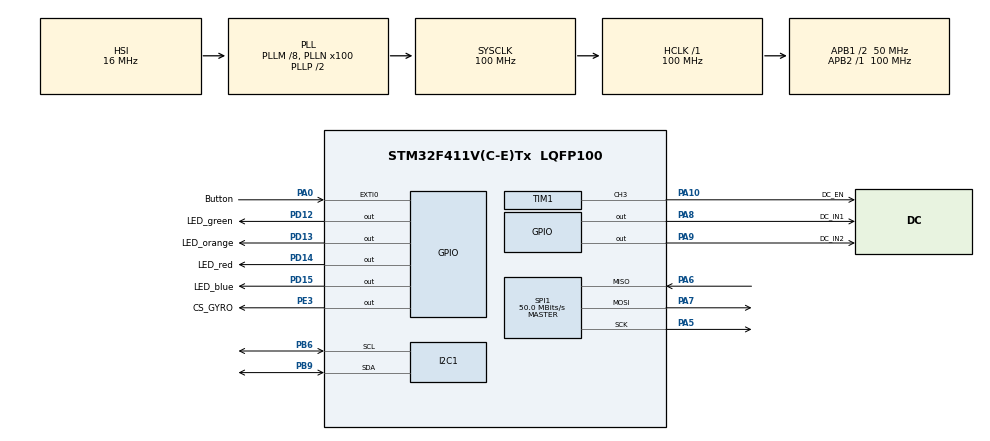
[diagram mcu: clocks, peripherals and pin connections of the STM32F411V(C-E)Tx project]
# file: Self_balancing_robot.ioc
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I2C1.I2C_Mode=I2C_Fast
Mcu.Family=STM32F4
Mcu.Name=STM32F411V(C-E)Tx
Mcu.Package=LQFP100
NVIC.EXTI0_IRQn=true\:0\:0\:false\:false\:true
NVIC.PriorityGroup=NVIC_PRIORITYGROUP_4
PA0-WKUP.GPIO_Label=Button
PA0-WKUP.Signal=GPXTI0
PA10.GPIO_Label=DC_EN
PA10.Signal=S_TIM1_CH3
PA5.Mode=Full_Duplex_Master
PA5.Signal=SPI1_SCK
PA6.Mode=Full_Duplex_Master
PA6.Signal=SPI1_MISO
PA7.Mode=Full_Duplex_Master
PA7.Signal=SPI1_MOSI
PA8.GPIO_Label=DC_IN1
PA8.Signal=GPIO_Output
PA9.GPIO_Label=DC_IN2
PA9.Signal=GPIO_Output
PB6.Mode=I2C
PB6.Signal=I2C1_SCL
PB9.Mode=I2C
PB9.Signal=I2C1_SDA
PD12.GPIO_Label=LED_green
PD12.Signal=GPIO_Output
PD13.GPIO_Label=LED_orange
PD13.Signal=GPIO_Output
PD14.GPIO_Label=LED_red
PD14.Signal=GPIO_Output
PD15.GPIO_Label=LED_blue
PD15.Signal=GPIO_Output
PE3.GPIO_Label=CS_GYRO
PE3.Signal=GPIO_Output
PH0\ -\ OSC_IN.Mode=HSE-External-Oscillator
PH0\ -\ OSC_IN.Signal=RCC_OSC_IN
PH1\ -\ OSC_OUT.Mode=HSE-External-Oscillator
PH1\ -\ OSC_OUT.Signal=RCC_OSC_OUT
ProjectManager.HeapSize=0x200
ProjectManager.StackSize=0x400
ProjectManager.TargetToolchain=SW4STM32
RCC.48MHZClocksFreq_Value=50000000
RCC.AHBFreq_Value=100000000
RCC.APB1CLKDivider=RCC_HCLK_DIV2
RCC.APB1Freq_Value=50000000
RCC.APB1TimFreq_Value=100000000
RCC.APB2Freq_Value=100000000
RCC.APB2TimFreq_Value=100000000
RCC.CortexFreq_Value=100000000
RCC.HCLKFreq_Value=100000000
RCC.HSE_VALUE=8000000
RCC.HSI_VALUE=16000000
RCC.LSE_VALUE=32768
RCC.PLLM=8
RCC.PLLN=100
RCC.SYSCLKFreq_VALUE=100000000
RCC.SYSCLKSource=RCC_SYSCLKSOURCE_PLLCLK
RCC.VCOOutputFreq_Value=200000000
SH.S_TIM1_CH3.0=TIM1_CH3,PWM Generation3 CH3
SPI1.CalculateBaudRate=50.0 MBits/s
SPI1.Direction=SPI_DIRECTION_2LINES
SPI1.Mode=SPI_MODE_MASTER
SPI1.VirtualType=VM_MASTER
TIM1.Channel-PWM\ Generation3\ CH3=TIM_CHANNEL_3
TIM1.Period=9999
TIM1.Prescaler=49
VP_TIM1_VS_ClockSourceINT.Mode=Internal
board=Self_balancing_robot

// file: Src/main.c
/**
  ******************************************************************************
  * File Name          : main.c
  * Description        : Main program body
  ******************************************************************************
  ** This notice applies to any and all portions of this file
  * that are not between comment pairs USER CODE BEGIN and
  * USER CODE END. Other portions of this file, whether
  * inserted by the user or by software development tools
  * are owned by their respective copyright owners.
  *
  * COPYRIGHT(c) 2017 STMicroelectronics
  *
  * Redistribution and use in source and binary forms, with or without modification,
  * are permitted provided that the following conditions are met:
  *   1. Redistributions of source code must retain the above copyright notice,
  *      this list of conditions and the following disclaimer.
  *   2. Redistributions in binary form must reproduce the above copyright notice,
  *      this list of conditions and the following disclaimer in the documentation
  *      and/or other materials provided with the distribution.
  *   3. Neither the name of STMicroelectronics nor the names of its contributors
  *      may be used to endorse or promote products derived from this software
  *      without specific prior written permission.
  *
  * THIS SOFTWARE IS PROVIDED BY THE COPYRIGHT HOLDERS AND CONTRIBUTORS "AS IS"
  * AND ANY EXPRESS OR IMPLIED WARRANTIES, INCLUDING, BUT NOT LIMITED TO, THE
  * IMPLIED WARRANTIES OF MERCHANTABILITY AND FITNESS FOR A PARTICULAR PURPOSE ARE
  * DISCLAIMED. IN NO EVENT SHALL THE COPYRIGHT HOLDER OR CONTRIBUTORS BE LIABLE
  * FOR ANY DIRECT, INDIRECT, INCIDENTAL, SPECIAL, EXEMPLARY, OR CONSEQUENTIAL
  * DAMAGES (INCLUDING, BUT NOT LIMITED TO, PROCUREMENT OF SUBSTITUTE GOODS OR
  * SERVICES; LOSS OF USE, DATA, OR PROFITS; OR BUSINESS INTERRUPTION) HOWEVER
  * CAUSED AND ON ANY THEORY OF LIABILITY, WHETHER IN CONTRACT, STRICT LIABILITY,
  * OR TORT (INCLUDING NEGLIGENCE OR OTHERWISE) ARISING IN ANY WAY OUT OF THE USE
  * OF THIS SOFTWARE, EVEN IF ADVISED OF THE POSSIBILITY OF SUCH DAMAGE.
  *
  ******************************************************************************
  */
#include "main.h"
#include "stm32f4xx_hal.h"

/* USER CODE BEGIN Includes */
#include <math.h>
/* USER CODE END Includes */

I2C_HandleTypeDef hi2c1;

SPI_HandleTypeDef hspi1;

TIM_HandleTypeDef htim1;

/* USER CODE BEGIN PV */
/* Private variables ---------------------------------------------------------*/
// ACCELEROMTER
#define LSM303_ACC_ADDRESS (0x19 << 1)
#define LSM303_ACC_CTRL_REG1_A 0x20
#define LSM303_ACC_CTRL_REG2_A 0x21
#define LSM303_ACC_CTRL_REG3_A 0x22
#define LSM303_ACC_CTRL_REG4_A 0x23
#define LSM303_ACC_CTRL_REG5_A 0x24
#define LSM303_ACC_CTRL_REG6_A 0x25
#define LSM303_ACC_SCALE 2.0f

//GYROSCOPE
#define L3GD20_REGISTER_CTRL_REG1 0x20   // 00000111   rw
#define L3GD20_REGISTER_CTRL_REG2 0x21   // 00000000   rw
#define L3GD20_REGISTER_CTRL_REG3 0x22   // 00000000   rw
#define L3GD20_REGISTER_CTRL_REG4 0x23   // 00000000   rw
#define L3GD20_REGISTER_CTRL_REG5 0x24   // 00000000   rw
#define L3GD20_GYRO_SENSITIVITY 0.00875f

#define RAD_TO_DEG 180/M_PI

//Gyro macros
#define CS_GYRO_LOW HAL_GPIO_WritePin(CS_GYRO_GPIO_Port, CS_GYRO_Pin, 0)
#define CS_GYRO_HIGH HAL_GPIO_WritePin(CS_GYRO_GPIO_Port, CS_GYRO_Pin, 1)
//DC motor macros
#define DC_IN1_ON HAL_GPIO_WritePin(DC_IN1_GPIO_Port, DC_IN1_Pin, 1)
#define DC_IN2_ON HAL_GPIO_WritePin(DC_IN2_GPIO_Port, DC_IN2_Pin, 1)
#define DC_IN1_OFF HAL_GPIO_WritePin(DC_IN1_GPIO_Port, DC_IN1_Pin, 0)
#define DC_IN2_OFF HAL_GPIO_WritePin(DC_IN2_GPIO_Port, DC_IN2_Pin, 0)
#define DC_ENABLE HAL_GPIO_WritePin(DC_EN_GPIO_Port, DC_EN_Pin, 1)
#define DC_DISABLE HAL_GPIO_WritePin(DC_EN_GPIO_Port, DC_EN_Pin, 0)
#define DC_TOGGLE HAL_GPIO_TogglePin(DC_EN_GPIO_Port, DC_EN_Pin)
uint8_t dc_shutdown;
//Other variables
float gyro_bias;

float pitch, accel_angle;
//float accel_angle, current_angle, prev_angle;

uint8_t settings = 0;

//int16_t Accel_raw_x, Accel_raw_y, Accel_raw_z;
//float Accel_g_x, Accel_g_y, Accel_g_z, angle;

uint8_t Data[6];

//Elapsed time variables
//float currTimeStamp=0, elapsedTime=0, prevTimeStamp=0;
typedef struct {
	float dState; // Last position input
	float iState; // Integrator state
	float iMax, iMin; // Maximum and minimum allowable integrator state
	float pGain, // Proportional gain
	      iGain, // Integrator gain
		  dGain; // Derivative gain
} PID;
/* USER CODE END PV */

void SystemClock_Config(void);
static void MX_GPIO_Init(void);
static void MX_I2C1_Init(void);
static void MX_SPI1_Init(void);
static void MX_TIM1_Init(void);

void HAL_TIM_MspPostInit(TIM_HandleTypeDef *htim);

/* USER CODE BEGIN PFP */
uint8_t read_gyro(uint8_t address);
void send_settings(uint8_t address, uint8_t settings);
void HAL_GPIO_EXTI_Callback(uint16_t GPIO_Pin) {
	if (GPIO_Pin == Button_Pin) {
		dc_shutdown ^= 1;
	}
}
void accel_config(void);
void gyro_config(void);
void HAL_SYSTICK_Callback(void) {
	static int cnt = 0;
	cnt++;
	if (cnt == 1000) {
		cnt = 0;
		HAL_GPIO_TogglePin(LED_green_GPIO_Port, LED_green_Pin);
	}
}
float get_accel_angle();
float estimate_angle();
float gyro_calibration();
float update_PID(PID * pid, float error, float set_point);
/* USEr CODE END PFP */

int main(void)
{

  /* MCU Configuration----------------------------------------------------------*/

  /* Reset of all peripherals, Initializes the Flash interface and the Systick. */
  HAL_Init();

  /* Configure the system clock */
  SystemClock_Config();

  /* Initialize all configured peripherals */
  MX_GPIO_Init();
  MX_I2C1_Init();
  MX_SPI1_Init();
  MX_TIM1_Init();

  /* USER CODE BEGIN 2 */

	//PWM start
	HAL_TIM_PWM_Start(&htim1, TIM_CHANNEL_3);
	//ACCELEROMETER CONFIGURATION
	accel_config();
	//GYROSCOPE CONFIGURATION
	gyro_config();
	gyro_bias = gyro_calibration();

	DC_ENABLE;
  /* USER CODE END 2 */

  /* Infinite loop */
  /* USER CODE BEGIN WHILE */
	while (1) {
		if (!dc_shutdown) {
//			TIM1->CCR3 = 0;
//			accel_angle = get_accel_angle();
			pitch = estimate_angle();
			if (pitch > -15 && pitch < 0) {
				TIM1->CCR3 = -pitch * 1500;
				DC_IN1_ON;
				DC_IN2_OFF;
			} else if (pitch < 15 && pitch > 0) {
				TIM1->CCR3 = pitch * 1500;
				DC_IN1_OFF;
				DC_IN2_ON;
			}
		} else {
			DC_DISABLE;
		}
//		DC_IN1_ON;
//		TIM1->CCR3 = 4000;
//		DC_IN1_ON;
//		TIM1->CCR3 = 1000;

		//PID

//		HAL_Delay(10);
  /* USER CODE END WHILE */

	}

}

/** System Clock Configuration
*/
void SystemClock_Config(void)
{

  RCC_OscInitTypeDef RCC_OscInitStruct;
  RCC_ClkInitTypeDef RCC_ClkInitStruct;

    /**Configure the main internal regulator output voltage
    */
  __HAL_RCC_PWR_CLK_ENABLE();

  __HAL_PWR_VOLTAGESCALING_CONFIG(PWR_REGULATOR_VOLTAGE_SCALE1);

    /**Initializes the CPU, AHB and APB busses clocks
    */
  RCC_OscInitStruct.OscillatorType = RCC_OSCILLATORTYPE_HSI;
  RCC_OscInitStruct.HSIState = RCC_HSI_ON;
  RCC_OscInitStruct.HSICalibrationValue = 16;
  RCC_OscInitStruct.PLL.PLLState = RCC_PLL_ON;
  RCC_OscInitStruct.PLL.PLLSource = RCC_PLLSOURCE_HSI;
  RCC_OscInitStruct.PLL.PLLM = 8;
  RCC_OscInitStruct.PLL.PLLN = 100;
  RCC_OscInitStruct.PLL.PLLP = RCC_PLLP_DIV2;
  RCC_OscInitStruct.PLL.PLLQ = 4;
  if (HAL_RCC_OscConfig(&RCC_OscInitStruct) != HAL_OK)
  {
    _Error_Handler(__FILE__, __LINE__);
  }

    /**Initializes the CPU, AHB and APB busses clocks
    */
  RCC_ClkInitStruct.ClockType = RCC_CLOCKTYPE_HCLK|RCC_CLOCKTYPE_SYSCLK
                              |RCC_CLOCKTYPE_PCLK1|RCC_CLOCKTYPE_PCLK2;
  RCC_ClkInitStruct.SYSCLKSource = RCC_SYSCLKSOURCE_PLLCLK;
  RCC_ClkInitStruct.AHBCLKDivider = RCC_SYSCLK_DIV1;
  RCC_ClkInitStruct.APB1CLKDivider = RCC_HCLK_DIV2;
  RCC_ClkInitStruct.APB2CLKDivider = RCC_HCLK_DIV1;

  if (HAL_RCC_ClockConfig(&RCC_ClkInitStruct, FLASH_LATENCY_3) != HAL_OK)
  {
    _Error_Handler(__FILE__, __LINE__);
  }

    /**Configure the Systick interrupt time
    */
  HAL_SYSTICK_Config(HAL_RCC_GetHCLKFreq()/1000);

    /**Configure the Systick
    */
  HAL_SYSTICK_CLKSourceConfig(SYSTICK_CLKSOURCE_HCLK);

  /* SysTick_IRQn interrupt configuration */
  HAL_NVIC_SetPriority(SysTick_IRQn, 0, 0);
}

/* I2C1 init function */
static void MX_I2C1_Init(void)
{

  hi2c1.Instance = I2C1;
  hi2c1.Init.ClockSpeed = 400000;
  hi2c1.Init.DutyCycle = I2C_DUTYCYCLE_2;
  hi2c1.Init.OwnAddress1 = 0;
  hi2c1.Init.AddressingMode = I2C_ADDRESSINGMODE_7BIT;
  hi2c1.Init.DualAddressMode = I2C_DUALADDRESS_DISABLE;
  hi2c1.Init.OwnAddress2 = 0;
  hi2c1.Init.GeneralCallMode = I2C_GENERALCALL_DISABLE;
  hi2c1.Init.NoStretchMode = I2C_NOSTRETCH_DISABLE;
  if (HAL_I2C_Init(&hi2c1) != HAL_OK)
  {
    _Error_Handler(__FILE__, __LINE__);
  }

}

/* SPI1 init function */
static void MX_SPI1_Init(void)
{

  hspi1.Instance = SPI1;
  hspi1.Init.Mode = SPI_MODE_MASTER;
  hspi1.Init.Direction = SPI_DIRECTION_2LINES;
  hspi1.Init.DataSize = SPI_DATASIZE_8BIT;
  hspi1.Init.CLKPolarity = SPI_POLARITY_LOW;
  hspi1.Init.CLKPhase = SPI_PHASE_1EDGE;
  hspi1.Init.NSS = SPI_NSS_SOFT;
  hspi1.Init.BaudRatePrescaler = SPI_BAUDRATEPRESCALER_2;
  hspi1.Init.FirstBit = SPI_FIRSTBIT_MSB;
  hspi1.Init.TIMode = SPI_TIMODE_DISABLE;
  hspi1.Init.CRCCalculation = SPI_CRCCALCULATION_DISABLE;
  hspi1.Init.CRCPolynomial = 10;
  if (HAL_SPI_Init(&hspi1) != HAL_OK)
  {
    _Error_Handler(__FILE__, __LINE__);
  }

}

/* TIM1 init function */
static void MX_TIM1_Init(void)
{

  TIM_ClockConfigTypeDef sClockSourceConfig;
  TIM_MasterConfigTypeDef sMasterConfig;
  TIM_OC_InitTypeDef sConfigOC;
  TIM_BreakDeadTimeConfigTypeDef sBreakDeadTimeConfig;

  htim1.Instance = TIM1;
  htim1.Init.Prescaler = 49;
  htim1.Init.CounterMode = TIM_COUNTERMODE_UP;
  htim1.Init.Period = 9999;
  htim1.Init.ClockDivision = TIM_CLOCKDIVISION_DIV1;
  htim1.Init.RepetitionCounter = 0;
  if (HAL_TIM_Base_Init(&htim1) != HAL_OK)
  {
    _Error_Handler(__FILE__, __LINE__);
  }

  sClockSourceConfig.ClockSource = TIM_CLOCKSOURCE_INTERNAL;
  if (HAL_TIM_ConfigClockSource(&htim1, &sClockSourceConfig) != HAL_OK)
  {
    _Error_Handler(__FILE__, __LINE__);
  }

  if (HAL_TIM_PWM_Init(&htim1) != HAL_OK)
  {
    _Error_Handler(__FILE__, __LINE__);
  }

  sMasterConfig.MasterOutputTrigger = TIM_TRGO_RESET;
  sMasterConfig.MasterSlaveMode = TIM_MASTERSLAVEMODE_DISABLE;
  if (HAL_TIMEx_MasterConfigSynchronization(&htim1, &sMasterConfig) != HAL_OK)
  {
    _Error_Handler(__FILE__, __LINE__);
  }

  sConfigOC.OCMode = TIM_OCMODE_PWM1;
  sConfigOC.Pulse = 0;
  sConfigOC.OCPolarity = TIM_OCPOLARITY_HIGH;
  sConfigOC.OCNPolarity = TIM_OCNPOLARITY_HIGH;
  sConfigOC.OCFastMode = TIM_OCFAST_DISABLE;
  sConfigOC.OCIdleState = TIM_OCIDLESTATE_RESET;
  sConfigOC.OCNIdleState = TIM_OCNIDLESTATE_RESET;
  if (HAL_TIM_PWM_ConfigChannel(&htim1, &sConfigOC, TIM_CHANNEL_3) != HAL_OK)
  {
    _Error_Handler(__FILE__, __LINE__);
  }

  sBreakDeadTimeConfig.OffStateRunMode = TIM_OSSR_DISABLE;
  sBreakDeadTimeConfig.OffStateIDLEMode = TIM_OSSI_DISABLE;
  sBreakDeadTimeConfig.LockLevel = TIM_LOCKLEVEL_OFF;
  sBreakDeadTimeConfig.DeadTime = 0;
  sBreakDeadTimeConfig.BreakState = TIM_BREAK_DISABLE;
  sBreakDeadTimeConfig.BreakPolarity = TIM_BREAKPOLARITY_HIGH;
  sBreakDeadTimeConfig.AutomaticOutput = TIM_AUTOMATICOUTPUT_DISABLE;
  if (HAL_TIMEx_ConfigBreakDeadTime(&htim1, &sBreakDeadTimeConfig) != HAL_OK)
  {
    _Error_Handler(__FILE__, __LINE__);
  }

  HAL_TIM_MspPostInit(&htim1);

}

/** Configure pins as
        * Analog
        * Input
        * Output
        * EVENT_OUT
        * EXTI
*/
static void MX_GPIO_Init(void)
{

  GPIO_InitTypeDef GPIO_InitStruct;

  /* GPIO Ports Clock Enable */
  __HAL_RCC_GPIOE_CLK_ENABLE();
  __HAL_RCC_GPIOH_CLK_ENABLE();
  __HAL_RCC_GPIOA_CLK_ENABLE();
  __HAL_RCC_GPIOD_CLK_ENABLE();
  __HAL_RCC_GPIOB_CLK_ENABLE();

  /*Configure GPIO pin Output Level */
  HAL_GPIO_WritePin(CS_GYRO_GPIO_Port, CS_GYRO_Pin, GPIO_PIN_RESET);

  /*Configure GPIO pin Output Level */
  HAL_GPIO_WritePin(GPIOD, LED_green_Pin|LED_orange_Pin|LED_red_Pin|LED_blue_Pin, GPIO_PIN_RESET);

  /*Configure GPIO pin Output Level */
  HAL_GPIO_WritePin(GPIOA, DC_IN1_Pin|DC_IN2_Pin, GPIO_PIN_RESET);

  /*Configure GPIO pin : CS_GYRO_Pin */
  GPIO_InitStruct.Pin = CS_GYRO_Pin;
  GPIO_InitStruct.Mode = GPIO_MODE_OUTPUT_PP;
  GPIO_InitStruct.Pull = GPIO_NOPULL;
  GPIO_InitStruct.Speed = GPIO_SPEED_FREQ_LOW;
  HAL_GPIO_Init(CS_GYRO_GPIO_Port, &GPIO_InitStruct);

  /*Configure GPIO pin : Button_Pin */
  GPIO_InitStruct.Pin = Button_Pin;
  GPIO_InitStruct.Mode = GPIO_MODE_IT_RISING;
  GPIO_InitStruct.Pull = GPIO_NOPULL;
  HAL_GPIO_Init(Button_GPIO_Port, &GPIO_InitStruct);

  /*Configure GPIO pins : LED_green_Pin LED_orange_Pin LED_red_Pin LED_blue_Pin */
  GPIO_InitStruct.Pin = LED_green_Pin|LED_orange_Pin|LED_red_Pin|LED_blue_Pin;
  GPIO_InitStruct.Mode = GPIO_MODE_OUTPUT_PP;
  GPIO_InitStruct.Pull = GPIO_NOPULL;
  GPIO_InitStruct.Speed = GPIO_SPEED_FREQ_LOW;
  HAL_GPIO_Init(GPIOD, &GPIO_InitStruct);

  /*Configure GPIO pins : DC_IN1_Pin DC_IN2_Pin */
  GPIO_InitStruct.Pin = DC_IN1_Pin|DC_IN2_Pin;
  GPIO_InitStruct.Mode = GPIO_MODE_OUTPUT_PP;
  GPIO_InitStruct.Pull = GPIO_NOPULL;
  GPIO_InitStruct.Speed = GPIO_SPEED_FREQ_LOW;
  HAL_GPIO_Init(GPIOA, &GPIO_InitStruct);

  /* EXTI interrupt init*/
  HAL_NVIC_SetPriority(EXTI0_IRQn, 0, 0);
  HAL_NVIC_EnableIRQ(EXTI0_IRQn);

}

/* USER CODE BEGIN 4 */
uint8_t read_gyro(uint8_t address) {
	CS_GYRO_LOW;
	address |= 0x80;
	uint8_t data;
	HAL_SPI_Transmit(&hspi1, &address, 1, 50);
	HAL_SPI_Receive(&hspi1, &data, 1, 50);
	CS_GYRO_HIGH;
	return data;
}

void send_settings(uint8_t address, uint8_t settings) {
	CS_GYRO_LOW;
	HAL_SPI_Transmit(&hspi1, &address, 1, 50);
	HAL_SPI_Transmit(&hspi1, &settings, 1, 50);
	CS_GYRO_HIGH;
}

void accel_config(void) {
	settings = 0b01010111; //100Hz, XYZ axis enable
	HAL_I2C_Mem_Write(&hi2c1, LSM303_ACC_ADDRESS, LSM303_ACC_CTRL_REG1_A, 1,
			&settings, 1, 50);

	settings = 0b10000000; //data from internal filter sent to output register and FIFO, there is no gravitation vector, dunno why
	HAL_I2C_Mem_Write(&hi2c1, LSM303_ACC_ADDRESS, LSM303_ACC_CTRL_REG2_A, 1,
			&settings, 1, 50);

	settings = 0b00000000; //everything disable
	HAL_I2C_Mem_Write(&hi2c1, LSM303_ACC_ADDRESS, LSM303_ACC_CTRL_REG3_A, 1,
			&settings, 1, 50);

	settings = 0b00000000; // +/- 2G selection
	HAL_I2C_Mem_Write(&hi2c1, LSM303_ACC_ADDRESS, LSM303_ACC_CTRL_REG4_A, 1,
			&settings, 1, 50);

	settings = 0b00000000; //nothing
	HAL_I2C_Mem_Write(&hi2c1, LSM303_ACC_ADDRESS, LSM303_ACC_CTRL_REG5_A, 1,
			&settings, 1, 50);

	settings = 0b00000000; //nothing
	HAL_I2C_Mem_Write(&hi2c1, LSM303_ACC_ADDRESS, LSM303_ACC_CTRL_REG6_A, 1,
			&settings, 1, 50);
}

void gyro_config(void) {
	send_settings(L3GD20_REGISTER_CTRL_REG1, 0b11001111); //output data rate, XYZ axis enable
	send_settings(L3GD20_REGISTER_CTRL_REG2, 0b00000000); //high pass filter normal mode and cutoff freq
	send_settings(L3GD20_REGISTER_CTRL_REG3, 0b00000000); //nothing
	send_settings(L3GD20_REGISTER_CTRL_REG4, 0b00000000); //continous update, 250 dps
	send_settings(L3GD20_REGISTER_CTRL_REG5, 0b00010000); //high pass filter enable
}

float get_accel_angle() {
	HAL_I2C_Mem_Read(&hi2c1, LSM303_ACC_ADDRESS, 0x28 | 0x80, 1, Data,
			6, 50);
	int16_t Accel_raw_x = ((Data[1] << 8) | Data[0]);
//	int16_t Accel_raw_y = ((Data[3] << 8) | Data[2]);
	int16_t Accel_raw_z = ((Data[5] << 8) | Data[4]);

	float Accel_g_x = (float) ((Accel_raw_x * LSM303_ACC_SCALE) / (float)INT16_MAX);
//	float Accel_g_y = (float) ((Accel_raw_y * LSM303_ACC_SCALE) / (float)INT16_MAX);
	float Accel_g_z = (float) ((Accel_raw_z * LSM303_ACC_SCALE) / (float)INT16_MAX);

	float angle = atan2f(Accel_g_x, Accel_g_z)*RAD_TO_DEG;
	return angle;
}

float estimate_angle() {
	uint32_t currTimeStamp, elapsedTime;
	static uint32_t prevTimeStamp;
	float current_angle;
	static float prev_angle=0;

    currTimeStamp = HAL_GetTick();
    elapsedTime = currTimeStamp - prevTimeStamp;
    prevTimeStamp = currTimeStamp;

//	Data[0] = read_gyro(0x28);
//	Data[1] = read_gyro(0x29);
	Data[2] = read_gyro(0x2A);
	Data[3] = read_gyro(0x2B);
//	Data[4] = read_gyro(0x2C);
//	Data[5] = read_gyro(0x2D);

//	int16_t Angular_velocity_x_raw = (int16_t)((Data[1] << 8) | Data[0]);
	int16_t Angular_velocity_y_raw = (int16_t)((Data[3] << 8) | Data[2]);
//	int16_t Angular_velocity_z_raw = (int16_t)((Data[5] << 8) | Data[4]);

//	float Angular_velocity_x = (float)Angular_velocity_x_raw * L3GD20_GYRO_SENSITIVITY; //dps
	float Angular_velocity_y = (float)Angular_velocity_y_raw * L3GD20_GYRO_SENSITIVITY; //dps
//	float Angular_velocity_z = (float)Angular_velocity_z_raw * L3GD20_GYRO_SENSITIVITY; //dps

	Angular_velocity_y -= gyro_bias;
	//Complementary filter
	current_angle = 0.997 * (prev_angle + (Angular_velocity_y * (float)elapsedTime/1000.0)) + 0.003 * get_accel_angle();
	prev_angle = current_angle;

	return current_angle;
}

float gyro_calibration() {
	HAL_GPIO_WritePin(LED_red_GPIO_Port, LED_red_Pin, 1);
	uint8_t data[2];
	int16_t angular_raw;
	float bias_value=0, angular_velocity;
	HAL_Delay(1500);
	for (uint8_t i = 0; i < 100; i++) {
		data[0] = read_gyro(0x2A);
		data[1] = read_gyro(0x2B);
		angular_raw = (int16_t)((data[1] << 8) | data[0]);
		angular_velocity = (float)angular_raw * L3GD20_GYRO_SENSITIVITY; //dps
		bias_value += angular_velocity;
	}
	bias_value /= 100.0;
	HAL_GPIO_WritePin(LED_red_GPIO_Port, LED_red_Pin, 0);
	return bias_value;
}

float update_PID(PID * pid, float error, float set_point) {
	float pTerm, iTerm, dTerm;
	// P
	pTerm = pid->pGain * error;
	// I
	pid->iState += error;
	if (pid->iState > pid->iMax) pid->iState = pid->iMax;
	else if (pid->iState < pid->iMin) pid->iState = pid->iMin;
	iTerm = pid->iGain * pid->iState;
	// D
	dTerm = pid->dGain * (pid->dState - set_point);
	pid->dState = set_point;

	return pTerm + iTerm + dTerm;
}
/* USER CODE END 4 */

void _Error_Handler(char * file, int line)
{
	while (1) {
	}
}

/************************ (C) COPYRIGHT STMicroelectronics *****END OF FILE****/
